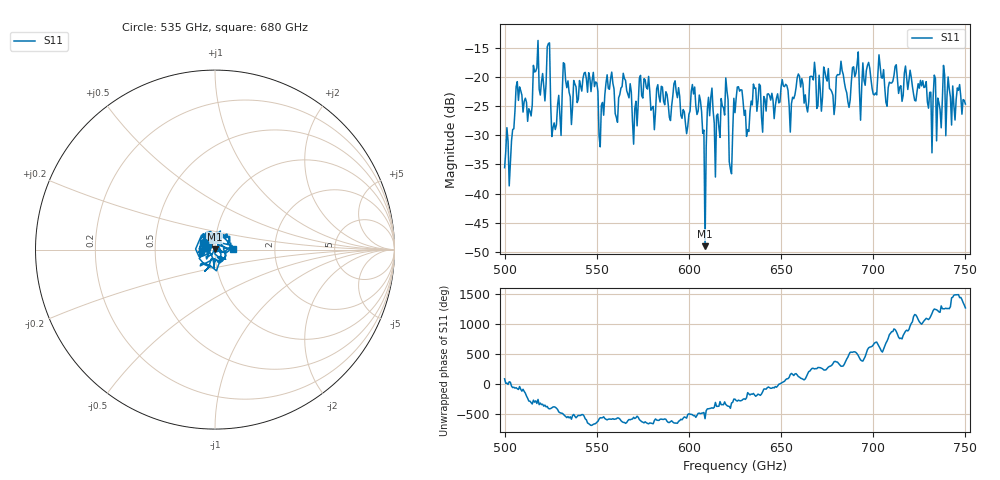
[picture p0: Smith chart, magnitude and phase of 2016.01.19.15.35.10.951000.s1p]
!Created with skrf (http://scikit-rf.org).
# GHz S RI R 50.0
!freq ReS11 ImS11
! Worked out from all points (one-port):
!   401 points, 500 GHz to 750 GHz, reference 50 ohm
!   lowest |S11| = -49.0 dB at 608.8 GHz (marker M1), VSWR 1.01, Z = 49.7 + j0.245 ohm
!   |S11| at or under -10 dB: start of sweep to end of sweep
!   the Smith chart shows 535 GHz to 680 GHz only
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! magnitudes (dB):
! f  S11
! 500 GHz  -35.6
! 503.8 GHz  -30.9
! 507.5 GHz  -24.0
! 513.8 GHz  -25.9
! 516.9 GHz  -19.0
! 523.8 GHz  -14.2
! 526.9 GHz  -27.9
! 531.2 GHz  -22.8
! 548.8 GHz  -21.6
! 552.5 GHz  -24.9
! 556.9 GHz  -22.1
! 562.5 GHz  -23.0
! 570.6 GHz  -25.4
! 593.8 GHz  -23.5
! 598.8 GHz  -29.7
! 602.5 GHz  -22.9
! 608.8 GHz  -49.0
! 611.2 GHz  -26.6
! 615.6 GHz  -26.3
! 620 GHz  -20.1
! 622.5 GHz  -35.8
! 625 GHz  -26.1
! 656.2 GHz  -23.5
! 667.5 GHz  -20.5
! 687.5 GHz  -23.9
! 718.8 GHz  -22.1
! 735.6 GHz  -24.4
! 750 GHz  -24.6
